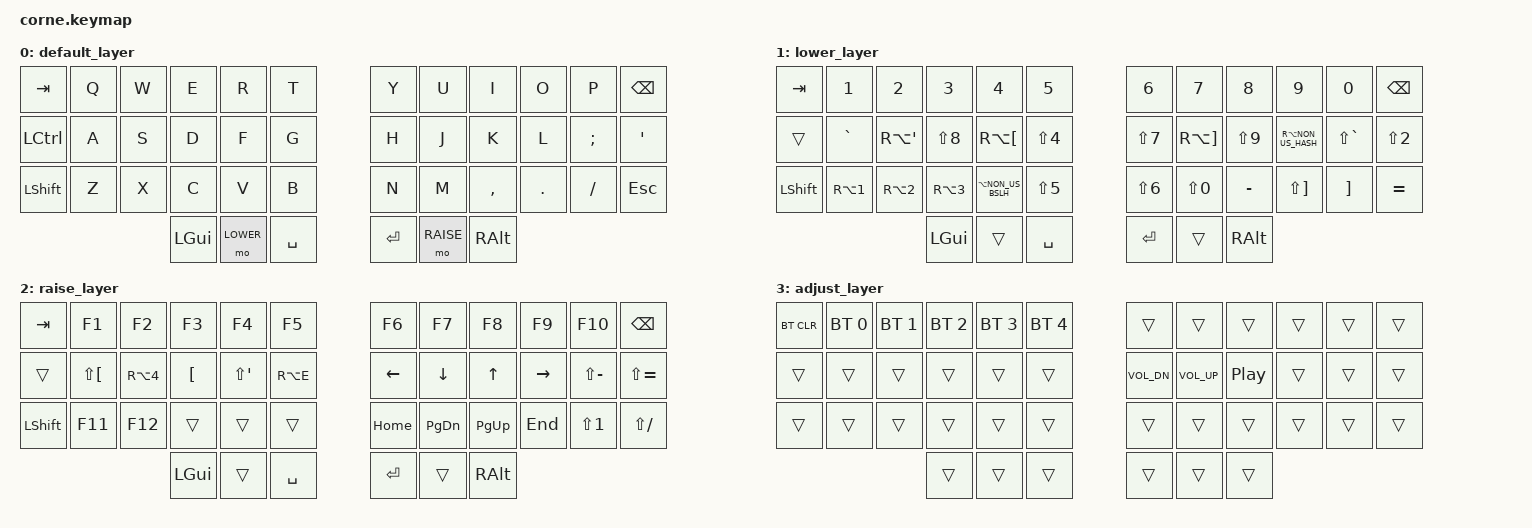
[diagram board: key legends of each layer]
/*
 * Corne Keyboard Keymap - Full Spanish ISO (Mac Optimized - THE FINAL REPAIR)
 * Capas: BASE, LOWER, RAISE, ADJUST (LOWER + RAISE)
 */

#include <behaviors.dtsi>
#include <dt-bindings/zmk/keys.h>
#include <dt-bindings/zmk/bt.h>

/* -------------------------------------------------------------------------- */
/* DEFINICIONES MANUALES PARA MAC ESPAÑOL (ISO)                               */
/* -------------------------------------------------------------------------- */

#define ES_NTIL SEMI          // Ñ
#define ES_ACUT SQT           // ´ (Acento)
#define ES_MINS SLASH         // -

// FIX PARA MAC: < y > (En Mac ISO se usa el código de GRAVE)
#define ES_LABK GRAVE
#define ES_RABK LS(GRAVE)

// EL FIX DEL BACKSLASH
#define USR_ES_BACKSLASH LA(NON_US_BSLH)

#define ES_LCBR RA(SQT)       // { (Alt + ')
#define ES_RCBR RA(NON_US_HASH) // } (Alt + ç)
#define ES_LPRN LS(N8)        // (
#define ES_RPRN LS(N9)        // )
#define ES_LBKT RA(LBKT)      // [ (Alt + `)
#define ES_RBKT RA(RBKT)      // ] (Alt + +)
#define ES_DLR  LS(N4)        // $
#define ES_SLSH LS(N7)        // /
#define ES_DQUO LS(N2)        // "
#define ES_PIPE RA(N1)        // | (Alt + 1)
#define ES_AT   RA(N2)        // @ (Alt + 2)
#define ES_HASH RA(N3)        // # (Alt + 3)

#define ES_PERC LS(N5)        // %
#define ES_AMPR LS(N6)        // &
#define ES_EQL  LS(N0)        // =
#define ES_QUOT MINUS         // '
#define ES_ASTR LS(RBKT)      // *
#define ES_PLUS RBKT          // +
#define ES_IEXL EQUAL         // ¡

#define ES_CIRC LS(LBKT)      // ^
#define ES_TILD RA(N4)        // ~ (Alt + 4)
#define ES_GRV  LBKT          // ` (Acento grave)
#define ES_DIAE LS(SQT)       // ¨ (Diéresis)
#define ES_EURO RA(E)         // €
#define ES_SCLN LS(COMMA)     // ;
#define ES_COLN LS(DOT)       // :
#define ES_QUES LS(MINUS)     // ?
#define ES_IQUE LS(EQUAL)     // ¿
#define ES_EXLM LS(N1)        // !
#define ES_UNDS LS(SLASH)     // _

/* -------------------------------------------------------------------------- */
/* KEYMAP                                                                     */
/* -------------------------------------------------------------------------- */

#define BASE   0
#define LOWER  1
#define RAISE  2
#define ADJUST 3

/ {
    conditional_layers {
        compatible = "zmk,conditional-layers";
        tri_layer {
            if-layers = <LOWER RAISE>;
            then-layer = <ADJUST>;
        };
    };

    keymap {
        compatible = "zmk,keymap";

        default_layer {
// --------------------------------------------------------------------------------------------------
// |  TAB |  Q  |  W  |  E  |  R  |  T  |   |  Y  |  U  |  I  |  O  |  P  | BSPC |
// | CTRL |  A  |  S  |  D  |  F  |  G  |   |  H  |  J  |  K  |  L  |  Ñ  |  ´   |
// | SHFT |  Z  |  X  |  C  |  V  |  B  |   |  N  |  M  |  ,  |  .  |  -  | ESC  |
//                     | CMD | LWR | SPC |   | ENT | RSE | OPT |
            bindings = <
   &kp TAB   &kp Q &kp W &kp E &kp R &kp T      &kp Y &kp U  &kp I     &kp O   &kp P       &kp BSPC
   &kp LCTRL &kp A &kp S &kp D &kp F &kp G      &kp H &kp J  &kp K     &kp L   &kp ES_NTIL  &kp ES_ACUT
   &kp LSHFT &kp Z &kp X &kp C &kp V &kp B      &kp N &kp M  &kp COMMA &kp DOT &kp ES_MINS  &kp ESC
                      &kp LGUI &mo LOWER &kp SPACE  &kp RET &mo RAISE &kp RALT
            >;
        };

        lower_layer {
// --------------------------------------------------------------------------------------------------
// |  TAB |  1  |  2  |  3  |  4  |  5  |   |  6  |  7  |  8  |  9  |  0  | BSPC |
// |      |  <  |  {  |  (  |  [  |  $  |   |  /  |  ]  |  )  |  }  |  >  |  "   |
// | SHFT |  |  |  @  |  #  |  \  |  %  |   |  &  |  =  |  '  |  * |  +  |  ¡   |
//                     | CMD |     | SPC |   | ENT |     | OPT |
            bindings = <
   &kp TAB    &kp N1       &kp N2       &kp N3       &kp N4       &kp N5          &kp N6       &kp N7       &kp N8       &kp N9       &kp N0       &kp BSPC
   &trans     &kp ES_LABK  &kp ES_LCBR  &kp ES_LPRN  &kp ES_LBKT  &kp ES_DLR      &kp ES_SLSH  &kp ES_RBKT  &kp ES_RPRN  &kp ES_RCBR  &kp ES_RABK  &kp ES_DQUO
   &kp LSHFT  &kp ES_PIPE  &kp ES_AT    &kp ES_HASH  &kp USR_ES_BACKSLASH  &kp ES_PERC     &kp ES_AMPR  &kp ES_EQL   &kp ES_QUOT  &kp ES_ASTR  &kp ES_PLUS  &kp ES_IEXL
                                     &kp LGUI     &trans       &kp SPACE       &kp RET      &trans       &kp RALT
            >;
        };

        raise_layer {
// --------------------------------------------------------------------------------------------------
// |  TAB |  F1 |  F2 |  F3 |  F4 |  F5 |   |  F6 |  F7 |  F8 |  F9 | F10 | BSPC |
// |      |  ^  |  ~  |  `  |  ¨  |  €  |   | LFT | DWN |  UP | RGT |  ?  |  ¿   |
// | SHFT | F11 | F12 |     |     |     |   | HOME| PGDN| PGUP| END |  !  |  _   |
//                     | CMD |     | SPC |   | ENT |     | OPT |
            bindings = <
   &kp TAB    &kp F1       &kp F2       &kp F3       &kp F4       &kp F5          &kp F6       &kp F7       &kp F8       &kp F9       &kp F10      &kp BSPC
   &trans     &kp ES_CIRC  &kp ES_TILD  &kp ES_GRV   &kp ES_DIAE  &kp ES_EURO     &kp LEFT     &kp DOWN     &kp UP       &kp RIGHT    &kp ES_QUES  &kp ES_IQUE
   &kp LSHFT  &kp F11      &kp F12      &trans       &trans       &trans          &kp HOME     &kp PG_DN    &kp PG_UP    &kp END      &kp ES_EXLM  &kp ES_UNDS
                                     &kp LGUI     &trans       &kp SPACE       &kp RET      &trans       &kp RALT
            >;
        };

        adjust_layer {
// --------------------------------------------------------------------------------------------------
// ADJUST = LOWER + RAISE
// | BTCLR| BT1 | BT2 | BT3 | BT4 | BT5 |   |     |     |     |     |     |      |
// |      |     |     |     |     |     |   | V-  | V+  | P/P |     |     |      |
// |      |     |     |     |     |     |   |     |     |     |     |     |      |
//                     |     |     |     |   |     |     |     |
            bindings = <
   &bt BT_CLR &bt BT_SEL 0 &bt BT_SEL 1 &bt BT_SEL 2 &bt BT_SEL 3 &bt BT_SEL 4    &trans       &trans       &trans       &trans       &trans       &trans
   &trans     &trans       &trans       &trans       &trans       &trans          &kp C_VOL_DN &kp C_VOL_UP &kp C_PP     &trans       &trans       &trans
   &trans     &trans       &trans       &trans       &trans       &trans          &trans       &trans       &trans       &trans       &trans       &trans
                                     &trans       &trans       &trans          &trans       &trans       &trans
            >;
        };
    };
};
